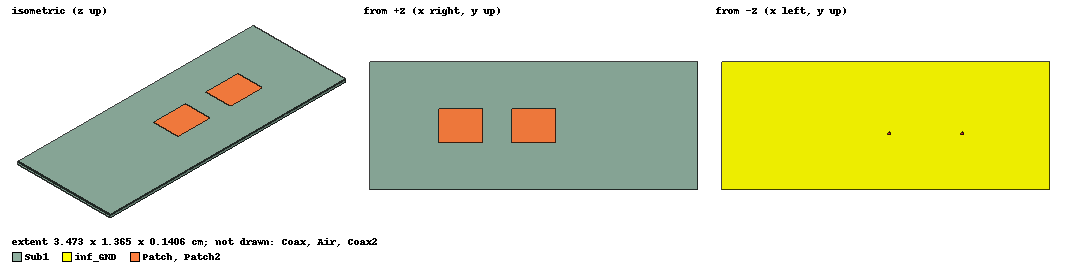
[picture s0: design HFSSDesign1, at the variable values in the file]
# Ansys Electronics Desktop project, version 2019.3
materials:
  vacuum: permittivity=1
  Rogers RT/duroid 5880 (tm): permittivity=2.2 dielectric_loss_tangent=0.0009
  pec: conductivity=1e+30
  Rogers RO4003 (tm): permittivity=3.55 dielectric_loss_tangent=0.0027

design HFSSDesign1 (HFSS, DrivenTerminal, model units cm)
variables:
  Lp = 4.73mm
  Wp = 3.65mm
  hs = 0.406mm
  Ws = (10+3.65) mm
  Ls = (30+4.73) mm
  xsub = (-30/2) mm
  ysub = (-10/2) mm
  xfeed = 2mm
  dp = 3mm
  rcoax = 0.16mm
  hcoax = 1mm
  rprope = 0.07mm
  Lair = (70+40.73) mm
  Wair = (60+21.65) mm
  xair = (-110.73/2) mm
  yair = (-81.65/2) mm
  hair = 13.2mm
  yfeed = 1mm
  xp = 0mm
  yp = 0mm
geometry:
  Sub1 [Rogers RO4003 (tm)] = box(corner=(xsub, ysub, 0mm), size=(Ls, Ws, hs))
  inf_GND [Rogers RT/duroid 5880 (tm)] = rectangle(corner=(xsub, ysub, 0mm), x_size=Ls, y_size=Ws)
  Cut_Out = circle(normal=Z, centre=(xp+xfeed, yp+yfeed, 0mm), radius=rcoax)
  inf_GND.subtract(Cut_Out)
  Patch [Rogers RT/duroid 5880 (tm)] = rectangle(corner=(xp, yp, hs), x_size=Lp, y_size=Wp)
  Coax [vacuum] = cylinder(axis=Z, base_centre=(xp+xfeed, yp+yfeed, 0mm), radius=rcoax, height=-hcoax)
  Coax_Pin [pec] = cylinder(axis=Z, base_centre=(xp+xfeed, yp+yfeed, 0mm), radius=rprope, height=-hcoax)
  Port1 [pec] = circle(normal=Z, centre=(xp+xfeed, yp+yfeed, -hcoax), radius=rcoax)
  Prope [pec] = cylinder(axis=Z, base_centre=(xp+xfeed, yp+yfeed, 0mm), radius=rprope, height=hs)
  Air [vacuum] = box(corner=(xair, yair, 0mm), size=(Lair, Wair, hair))
  Cut_Out2 = circle(normal=Z, centre=(xp+xfeed-Lp-dp, yp+yfeed, 0mm), radius=rcoax)
  inf_GND.subtract(Cut_Out2)
  Patch2 = rectangle(corner=(xp-Lp-dp, yp, hs), x_size=Lp, y_size=Wp)
  Coax2 [vacuum] = cylinder(axis=Z, base_centre=(xp+xfeed-Lp-dp, yp+yfeed, 0mm), radius=rcoax, height=-hcoax)
  Coax_Pin2 [pec] = cylinder(axis=Z, base_centre=(xp+xfeed-Lp-dp, yp+yfeed, 0mm), radius=rprope, height=-hcoax)
  Port2 [pec] = circle(normal=Z, centre=(xp+xfeed-Lp-dp, yp+yfeed, -hcoax), radius=rcoax)
  Prope2 [pec] = cylinder(axis=Z, base_centre=(xp+xfeed-Lp -dp, yp+yfeed, 0mm), radius=rprope, height=hs)
  group Input_feed1 = Coax, Coax_Pin, Port1, Prope
  group Input_feed2 = Coax2, Coax_Pin2, Port2, Prope2
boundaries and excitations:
  PerfE_inf_GND: Perfect E Objects=inf_GND
  PerfE_Patch: Perfect E Objects=Patch
  Rad1: Radiation Faces=Air.face(+x, +y, -y, -x, +z)
  PerfE1: Perfect E Objects=Patch2
  Coax_Pin_T1: Terminal port=1 Faces=Coax_Pin.face(2 of 3) TerminalResistance=50ohm
  Coax_Pin2_T1: Terminal port=2 Faces=Coax_Pin2.face(2 of 3) TerminalResistance=50ohm
  1: Wave Port Faces=Port1.face NumModes=1
  2: Wave Port Faces=Port2.face NumModes=1
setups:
  Setup1: HfssDriven Frequency=20GHz MaxDeltaS=0.02 MaximumPasses=18 MinimumPasses=1 MinimumConvergedPasses=1 PercentRefinement=30 BasisOrder=1 PortAccuracy=2
    sweep Sweep: 10GHz to 30GHz step 0.2GHz; Type=Fast SaveFields SaveRadFields GenerateFieldsForAllFreqs
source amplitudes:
  1:1: 1V 0deg
  2:1: 0V 0deg
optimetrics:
  ParametricSetup1: Parametric Sim._Setups=[Setup1]
    sweep dp: LIN 1mm 4mm 1mm
    calculate dB(St(Coax_Pin2_T1,Coax_Pin_T1)) on Setup1 : Sweep at Freq 20GHz
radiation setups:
  e_plane: Infinite Sphere Theta=-180deg..180deg step 2deg Phi=0deg..0deg step 1deg
  h_plane: Infinite Sphere Theta=-180deg..180deg step 2deg Phi=90deg..90deg step 1deg
  3d: Infinite Sphere Theta=-180deg..180deg step 2deg Phi=0deg..360deg step 2deg
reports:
  S11: dB(St(Coax_Pin_T1,Coax_Pin_T1)) vs Freq on Setup1 : Sweep; markers m1 at 20.2GHz, MX1 at x=2.0621532e+10, MX2 at x=1.9821429e+10, MX3 at x=2.0438312e+10
  Zin: mag(Zt(Coax_Pin_T1,Coax_Pin_T1)) vs Freq on Setup1 : Sweep; markers MX1 at x=2.0016313e+10
  S21: dB(St(Coax_Pin2_T1,Coax_Pin_T1)) vs Freq on Setup1 : Sweep [hs=all xfeed=all dp=all yfeed=all]; markers MX1 at x=2e+10
  Efeild: abs(rETotal) vs Theta on Setup1 : LastAdaptive, e_plane [Phi=all Freq=20GHz]
  Eradation_pattern: abs(rETotal) vs Theta on Setup1 : LastAdaptive, e_plane [Phi=all Freq=20GHz]
  Hradation_pattern: abs(rETotal) vs Theta on Setup1 : LastAdaptive, h_plane [Phi=all Freq=20GHz]
  3D_radation_pattern: abs(rETotal) vs Phi, Theta on Setup1 : LastAdaptive, 3d [Freq=20GHz]
  Co_X_graph: dB10normalize(GainPhi), dB10normalize(GainTheta) vs Theta on Setup1 : LastAdaptive, e_plane [Phi=0deg Freq=20GHz]
  Gain_vs_Frequency: GainTotal vs Freq on Setup1 : Sweep, 3d [Phi=0deg Theta=0deg]; markers MX1 at x=2e+10
  radiation_efficiency_vs_frequency: DirTotal vs Freq on Setup1 : Sweep, 3d [Phi=0deg Theta=0deg]; markers MX1 at x=2e+10
